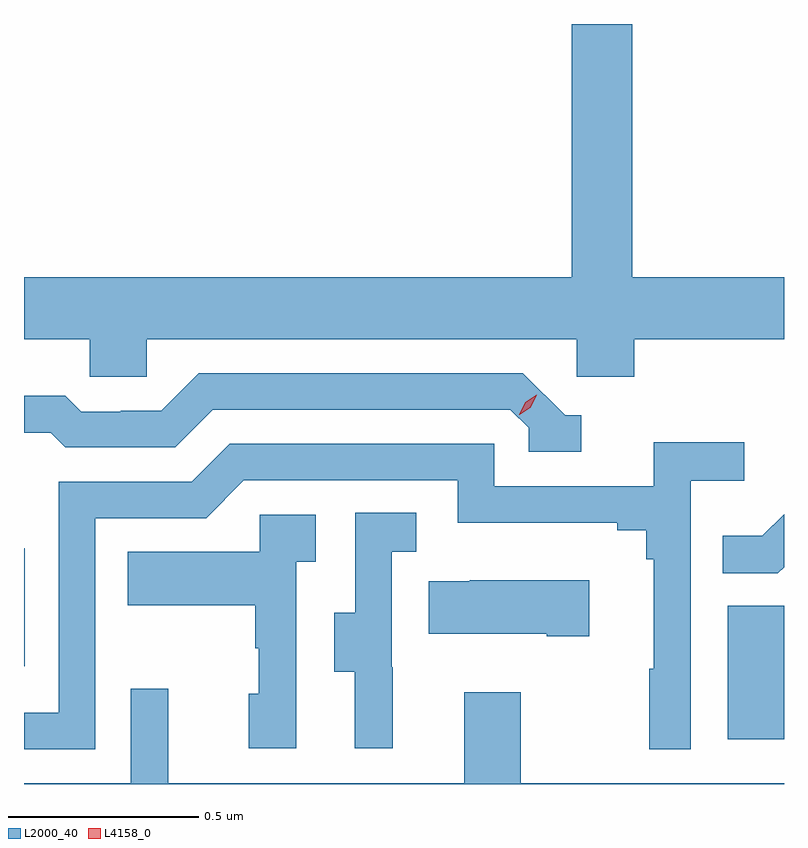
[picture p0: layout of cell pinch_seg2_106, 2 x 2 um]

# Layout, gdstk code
import gdstk
lib = gdstk.Library(unit=1e-6, precision=1e-09)
def R(c, l, rs):  # rectangles x0, y0, x1, y1
    for r in rs: c.add(gdstk.rectangle(r[:2], r[2:], *l))
def P(c, l, *ps):  # polygons
    for p in ps: c.add(gdstk.Polygon(p, *l))
L2000_40 = (2000, 40)
L4158_0 = (4158, 0)

pinch_seg2_106 = lib.new_cell('pinch_seg2_106')
R(pinch_seg2_106, L2000_40, [(1025.594,638.592,1025.742,638.943), (1023.742,638.784,1023.744,639.094)])
P(pinch_seg2_106, L2000_40, [(1024.065,639.644),(1025.196,639.644),(1025.196,639.546),(1025.348,639.546),(1025.348,639.644),(1025.742,639.644),(1025.742,639.808),(1025.343,639.808),(1025.343,640.474),(1025.183,640.474),(1025.183,639.808),(1023.742,639.808),(1023.742,639.644),(1023.915,639.644),(1023.915,639.546),(1024.065,639.546)],
  [(1025.209,639.444),(1025.166,639.444),(1025.055,639.555),(1024.202,639.555),(1024.103,639.456),(1023.996,639.456),(1023.996,639.453),(1023.893,639.453),(1023.851,639.496),(1023.742,639.496),(1023.742,639.399),(1023.812,639.399),(1023.851,639.36),(1024.14,639.36),(1024.239,639.459),(1025.022,639.459),(1025.07,639.411),(1025.07,639.348),(1025.209,639.348)],
  [(1023.93,639.174),(1024.221,639.174),(1024.32,639.273),(1024.884,639.273),(1024.884,639.161),(1025.303,639.161),(1025.303,639.142),(1025.38,639.142),(1025.38,639.065),(1025.399,639.065),(1025.399,638.777),(1025.388,638.777),(1025.388,638.565),(1025.496,638.565),(1025.496,639.272),(1025.638,639.272),(1025.638,639.374),(1025.399,639.374),(1025.399,639.258),(1024.98,639.258),(1024.98,639.369),(1024.283,639.369),(1024.184,639.27),(1023.834,639.27),(1023.834,638.661),(1023.742,638.661),(1023.742,638.565),(1023.93,638.565)],
  [(1024.712,638.781),(1024.71,638.781),(1024.71,639.085),(1024.774,639.085),(1024.774,639.188),(1024.614,639.188),(1024.614,638.925),(1024.559,638.925),(1024.559,638.77),(1024.613,638.77),(1024.613,638.568),(1024.712,638.568)],
  [(1025.742,639.045),(1025.742,639.184),(1025.685,639.127),(1025.581,639.127),(1025.581,639.028),(1025.725,639.028)],
  [(1024.458,639.059),(1024.51,639.059),(1024.51,639.183),(1024.362,639.183),(1024.362,639.085),(1024.015,639.085),(1024.015,638.945),(1024.35,638.945),(1024.35,638.831),(1024.36,638.831),(1024.36,638.712),(1024.334,638.712),(1024.334,638.568),(1024.458,638.568)],
  [(1025.23,639.01),(1024.915,639.01),(1024.915,639.007),(1024.807,639.007),(1024.807,638.87),(1025.117,638.87),(1025.117,638.863),(1025.23,638.863)],
  [(1025.742,638.476),(1025.049,638.476),(1025.049,638.716),(1024.901,638.716),(1024.901,638.476),(1024.121,638.476),(1024.121,638.725),(1024.023,638.725),(1024.023,638.476),(1023.742,638.476),(1023.742,638.474),(1025.742,638.474)])
P(pinch_seg2_106, L4158_0, [(1025.045,639.446),(1025.045,639.446),(1025.061,639.478),(1025.091,639.498),(1025.091,639.498),(1025.091,639.498),(1025.076,639.465),(1025.046,639.446)])

lib.write_gds('pinch_seg2_106.gds')
